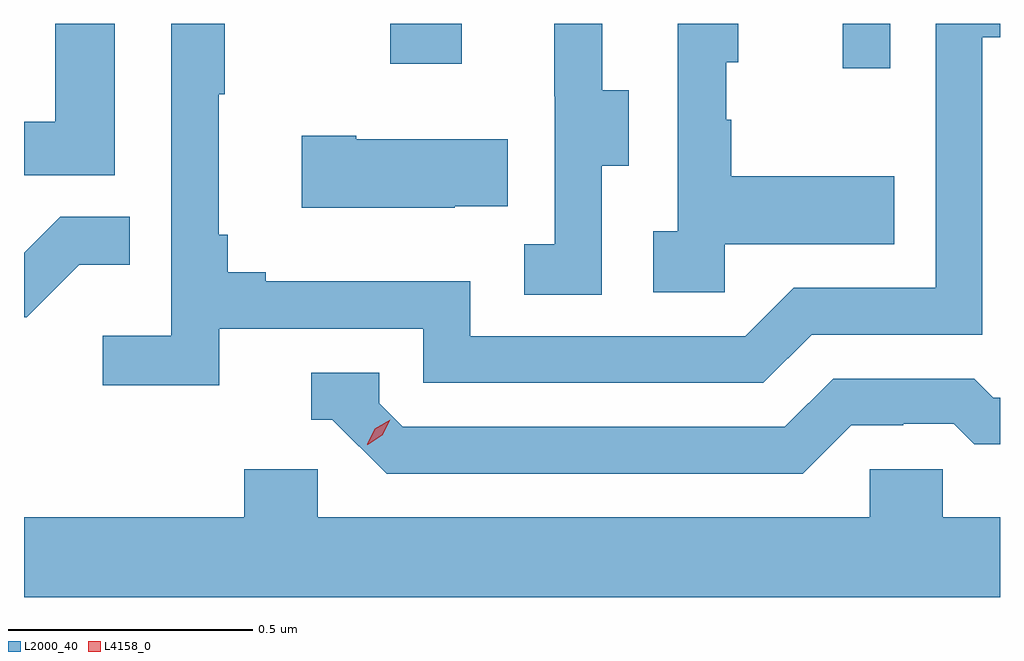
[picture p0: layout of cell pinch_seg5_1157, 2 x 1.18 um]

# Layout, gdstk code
import gdstk
lib = gdstk.Library(unit=1e-6, precision=1e-09)
def R(c, l, rs):  # rectangles x0, y0, x1, y1
    for r in rs: c.add(gdstk.rectangle(r[:2], r[2:], *l))
def P(c, l, *ps):  # polygons
    for p in ps: c.add(gdstk.Polygon(p, *l))
L2000_40 = (2000, 40)
L4158_0 = (4158, 0)

pinch_seg5_1157 = lib.new_cell('pinch_seg5_1157')
R(pinch_seg5_1157, L2000_40, [(816.992,853.848,817.089,853.939), (816.064,853.857,816.211,853.939)])
P(pinch_seg5_1157, L2000_40, [(815.714,853.314),(816.132,853.314),(816.132,853.203),(816.829,853.203),(816.928,853.302),(817.278,853.302),(817.278,853.911),(817.314,853.911),(817.314,853.939),(817.182,853.939),(817.182,853.398),(816.891,853.398),(816.792,853.299),(816.228,853.299),(816.228,853.411),(815.809,853.411),(815.809,853.43),(815.732,853.43),(815.732,853.507),(815.713,853.507),(815.713,853.795),(815.725,853.795),(815.725,853.939),(815.616,853.939),(815.616,853.3),(815.475,853.3),(815.475,853.198),(815.714,853.198)],
  [(816.498,853.648),(816.553,853.648),(816.553,853.803),(816.499,853.803),(816.499,853.939),(816.401,853.939),(816.401,853.791),(816.402,853.791),(816.402,853.487),(816.339,853.487),(816.339,853.384),(816.498,853.384)],
  [(816.75,853.487),(817.097,853.487),(817.097,853.627),(816.763,853.627),(816.763,853.742),(816.753,853.742),(816.753,853.86),(816.778,853.86),(816.778,853.939),(816.654,853.939),(816.654,853.514),(816.603,853.514),(816.603,853.389),(816.75,853.389)],
  [(815.5,853.939),(815.378,853.939),(815.378,853.738),(815.314,853.738),(815.314,853.629),(815.5,853.629)],
  [(816.197,853.565),(816.305,853.565),(816.305,853.702),(815.995,853.702),(815.995,853.71),(815.883,853.71),(815.883,853.562),(816.197,853.562)],
  [(815.427,853.445),(815.531,853.445),(815.531,853.544),(815.388,853.544),(815.314,853.47),(815.314,853.338),(815.32,853.338)],
  [(817.009,853.116),(817.116,853.116),(817.116,853.119),(817.219,853.119),(817.261,853.077),(817.314,853.077),(817.314,853.173),(817.3,853.173),(817.261,853.212),(816.972,853.212),(816.873,853.113),(816.09,853.113),(816.042,853.161),(816.042,853.224),(815.903,853.224),(815.903,853.128),(815.946,853.128),(816.057,853.017),(816.91,853.017)],
  [(817.314,852.928),(817.197,852.928),(817.197,853.026),(817.047,853.026),(817.047,852.928),(815.916,852.928),(815.916,853.026),(815.765,853.026),(815.765,852.928),(815.314,852.928),(815.314,852.764),(817.314,852.764)])
P(pinch_seg5_1157, L4158_0, [(816.017,853.076),(816.017,853.077),(816.033,853.109),(816.064,853.128),(816.064,853.128),(816.064,853.128),(816.048,853.096),(816.018,853.076)])

lib.write_gds('pinch_seg5_1157.gds')
